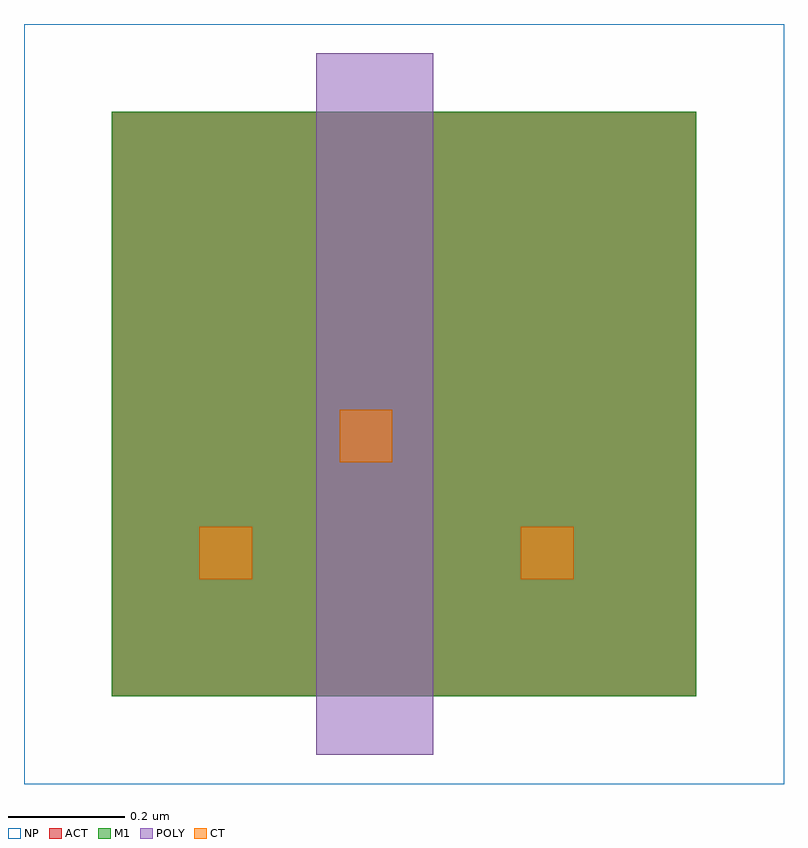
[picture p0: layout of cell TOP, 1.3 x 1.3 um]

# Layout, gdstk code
import gdstk
lib = gdstk.Library(unit=1e-6, precision=1e-09)
def R(c, l, rs):  # rectangles x0, y0, x1, y1
    for r in rs: c.add(gdstk.rectangle(r[:2], r[2:], *l))
ACT = (2, 1)
POLY = (41, 1)
NP = (52, 1)
CT = (72, 1)
M1 = (81, 1)

top = lib.new_cell('TOP')
R(top, ACT, [(0,0,1,1)])
R(top, POLY, [(0.35,-0.1,0.55,1.1)])
R(top, NP, [(-0.15,-0.15,1.15,1.15)])
R(top, CT, [(0.15,0.2,0.24,0.29), (0.7,0.2,0.79,0.29), (0.39,0.4,0.48,0.49)])
R(top, M1, [(0,0,1,1)])

lib.write_gds('TOP.gds')
